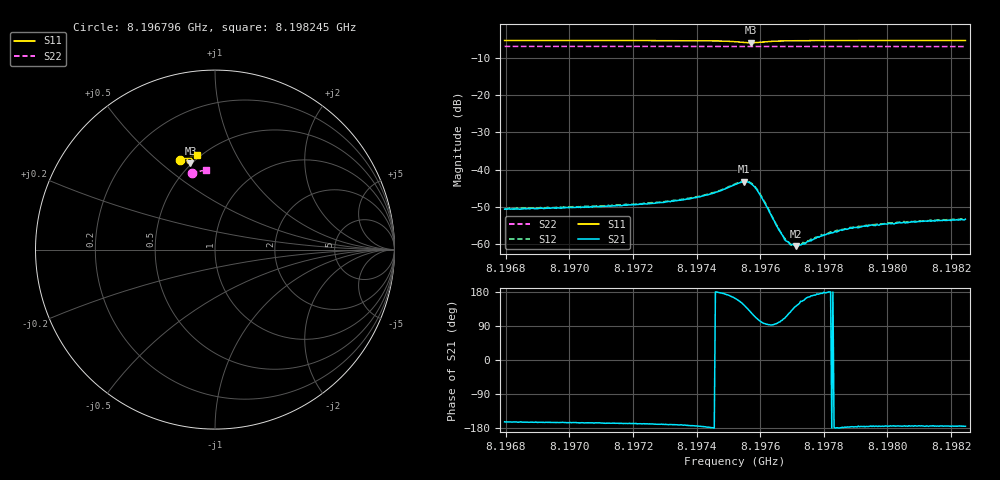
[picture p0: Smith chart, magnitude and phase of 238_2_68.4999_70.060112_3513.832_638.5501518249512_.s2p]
#  HZ  S  RI  R  50.00
! Rohde & Schwarz Vector Network Analyzer
! Rohde-Schwarz,ZNB20-2Port,1311601062101988,3.16
! Created: UTC 3/20/2024, 5:14:20 PM
! freq[Hz]  re:S11  im:S11  re:S21  im:S21  re:S12  im:S12  re:S22  im:S22
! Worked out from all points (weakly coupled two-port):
!   401 points, 8.196796 GHz to 8.198245 GHz, reference 50 ohm
!   highest |S21| = -43.24 dB at 8.197549 GHz (marker M1); lowest = -60.5 dB at 8.197712 GHz (marker M2)
!   lowest |S11| = -6.0 dB at 8.197571 GHz (marker M3), VSWR 2.99, Z = 24.7 + j31.5 ohm
!   |S11| at or under -10 dB: nowhere
!   |S22| runs from -7.1 to -7.0 dB; largest |S21 - S12| = 0.00032
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8.1967961e9  -0.1953 0.4993  -0.00282 -0.000857  -0.00293 -0.000756  -0.1293 0.4275
8.1970388e9  -0.178 0.5053  -0.00304 -0.000789  -0.00313 -0.000655  -0.1162 0.4309
8.1972815e9  -0.1588 0.5105  -0.00354 -0.000648  -0.00362 -0.000554  -0.1027 0.4336
8.1973575e9  -0.1513 0.5116  -0.00389 -0.00055  -0.00397 -0.000406  -0.0986 0.4346
8.1974191e9  -0.144 0.5117  -0.00443 -0.000343  -0.00451 -0.000131  -0.095 0.4352
8.1974734e9  -0.1355 0.5095  -0.00517 0.000222  -0.00525 0.000442  -0.0917 0.4357
8.1975205e9  -0.1267 0.5007  -0.00603 0.00186  -0.00604 0.00212  -0.0892 0.436
8.1975495e9  -0.1268 0.4878  -0.0056 0.00401  -0.00553 0.00427  -0.0875 0.4357
8.1975712e9  -0.1368 0.4797  -0.0037 0.0053  -0.00359 0.00557  -0.0868 0.4357
8.1975857e9  -0.1458 0.4803  -0.00212 0.00518  -0.00196 0.00542  -0.0863 0.4359
8.1976002e9  -0.1524 0.4849  -0.000948 0.00442  -0.000785 0.00459  -0.0858 0.4363
8.1976545e9  -0.1538 0.5032  -0.000223 0.00167  -0.000116 0.00174  -0.0826 0.4373
8.1976763e9  -0.1512 0.507  -0.000397 0.00108  -0.000367 0.00116  -0.0815 0.4376
8.1976944e9  -0.1489 0.5095  -0.000579 0.000797  -0.000567 0.000831  -0.0803 0.4376
8.1977016e9  -0.148 0.5101  -0.000682 0.000726  -0.000637 0.000744  -0.0798 0.4377
8.1977125e9  -0.1468 0.5112  -0.000745 0.000577  -0.000741 0.000629  -0.0793 0.4378
8.1977342e9  -0.1442 0.5129  -0.000931 0.000403  -0.000955 0.000458  -0.0781 0.4383
8.1977632e9  -0.1411 0.5145  -0.00112 0.000205  -0.0011 0.0003  -0.0763 0.4383
8.1978139e9  -0.1361 0.5167  -0.00137 1.44e-05  -0.0014 8.41e-05  -0.0735 0.4386
8.1978827e9  -0.13 0.5187  -0.00164 -0.000104  -0.00169 -2.43e-05  -0.0696 0.4393
8.1980059e9  -0.12 0.5214  -0.00189 -0.000179  -0.00193 -9.69e-05  -0.0626 0.4402
8.1982449e9  -0.1018 0.525  -0.00216 -0.000196  -0.00219 -0.000117  -0.0492 0.4414
